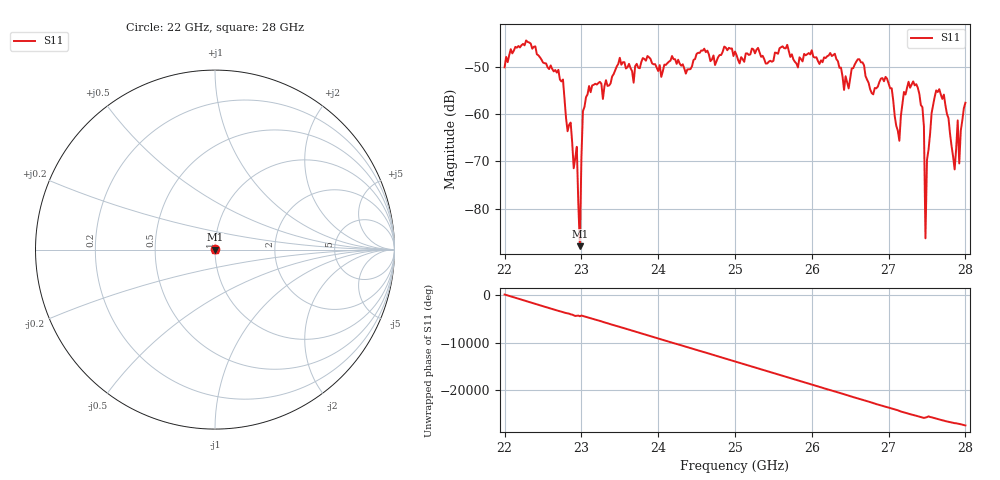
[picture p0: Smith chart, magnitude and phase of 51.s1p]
#  HZ  S  RI  R  50.00
! Rohde & Schwarz ZVA40 4Ports - Version 3.90 - 1145.1110k42 SN: 100403
! Date: 2023-10-04 10:43:50
! Measurement: S12
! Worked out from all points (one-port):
!   301 points, 22 GHz to 28 GHz, reference 50 ohm
!   lowest |S11| = -88.0 dB at 22.98 GHz (marker M1), VSWR 1.00, Z = 50 - j0.00205 ohm
!   |S11| at or under -10 dB: start of sweep to end of sweep
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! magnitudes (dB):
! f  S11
! 22 GHz  -50.0
! 22.28 GHz  -44.3
! 22.76 GHz  -52.6
! 22.9 GHz  -71.4
! 22.94 GHz  -66.9
! 22.96 GHz  -79.1
! 22.98 GHz  -88.0
! 23.02 GHz  -59.3
! 23.06 GHz  -56.4
! 23.5 GHz  -48.0
! 23.68 GHz  -53.3
! 24.26 GHz  -48.4
! 25 GHz  -46.7
! 25.76 GHz  -48.3
! 26.5 GHz  -52.4
! 26.98 GHz  -52.4
! 27.14 GHz  -65.6
! 27.26 GHz  -53.1
! 27.44 GHz  -58.5
! 27.46 GHz  -62.6
! 27.48 GHz  -86.3
! 27.5 GHz  -69.6
! 27.62 GHz  -54.9
! 27.72 GHz  -55.8
! 27.86 GHz  -71.7
! 27.9 GHz  -61.3
! 27.92 GHz  -70.4
! 28 GHz  -57.5
